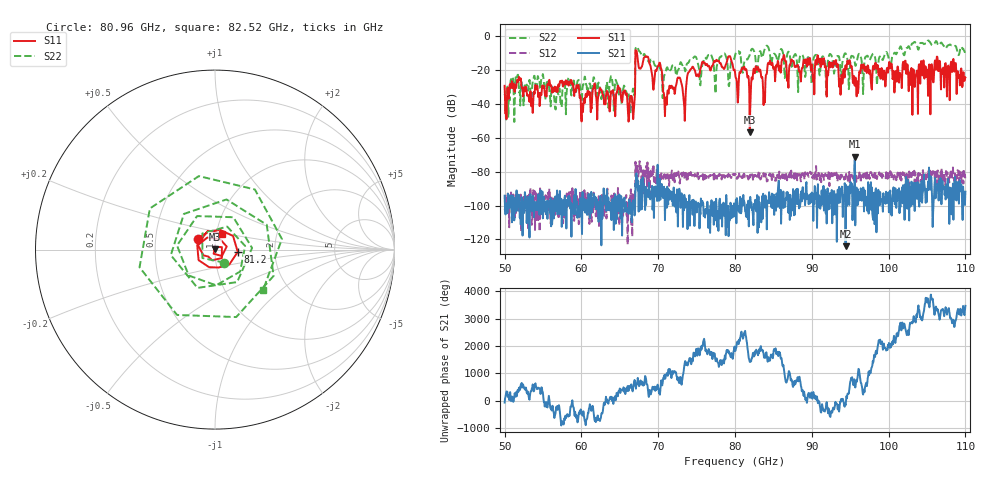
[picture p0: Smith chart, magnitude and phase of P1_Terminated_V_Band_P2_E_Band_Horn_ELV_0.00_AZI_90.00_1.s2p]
! 11/26/2026 10:33:40 AM
! C:\ANRITSUVNA\TEMP\TEMP.S2P
! CHANNEL.1
! TR.MEASUREMENT
! RAW.DATA
# HZ S RI R 50.0
! FREQ.HZ  S11RE  S11IM  S21RE  S21IM  S12RE  S12IM  S22RE  S22IM
!; PortSelection: Port_12
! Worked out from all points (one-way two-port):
!   1001 points, 50 GHz to 110 GHz, reference 50 ohm
!   highest |S21| = -71.15 dB at 95.6 GHz (marker M1); lowest = -124.0 dB at 94.4 GHz (marker M2)
!   lowest |S11| = -56.8 dB at 81.92 GHz (marker M3), VSWR 1.00, Z = 49.9 + j0.119 ohm
!   |S11| at or under -10 dB: start of sweep to 67.04 GHz; 67.24 GHz to end of sweep
!   |S22| runs from -50.6 to -2.4 dB; largest |S21 - S12| = 0.00047
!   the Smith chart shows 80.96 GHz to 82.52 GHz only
!   S11 on the Smith chart (normalised r, x): 80.96 GHz: 0.82, +0.10; 81.2 GHz: 1.29, -0.03; 82.52 GHz: 1.06, +0.19
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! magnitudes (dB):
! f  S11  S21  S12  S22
! 50 GHz  -29.2  -94.1  -101.8  -34.0
! 58.46 GHz  -26.7  -95.6  -96.5  -24.6
! 60.02 GHz  -50.3  -106.2  -101.4  -38.9
! 66.44 GHz  -35.4  -102.4  -90.4  -40.5
! 67.34 GHz  -13.7  -91.0  -79.9  -6.6
! 70.04 GHz  -17.3  -88.5  -80.6  -16.2
! 71.06 GHz  -39.0  -92.9  -81.7  -19.3
! 75.92 GHz  -15.5  -106.2  -81.7  -14.5
! 78.56 GHz  -19.3  -106.0  -83.1  -10.1
! 79.28 GHz  -11.6  -106.5  -83.0  -27.5
! 80 GHz  -21.0  -99.3  -81.3  -11.4
! 80.96 GHz  -19.0  -95.6  -82.4  -20.9
! 81.2 GHz  -17.9  -97.5  -81.3  -15.4
! 81.92 GHz  -56.8  -101.4  -83.5  -10.9
! 82.52 GHz  -20.5  -101.6  -82.0  -9.1
! 83.72 GHz  -40.6  -94.8  -80.8  -9.8
! 84.56 GHz  -14.3  -98.0  -82.3  -11.0
! 90.02 GHz  -16.7  -92.2  -80.6  -27.4
! 94.4 GHz  -17.1  -124.0  -82.7  -10.1
! 95.6 GHz  -29.1  -71.2  -73.8  -15.4
! 100 GHz  -16.3  -103.9  -82.4  -13.3
! 110 GHz  -24.3  -91.7  -84.6  -11.0
